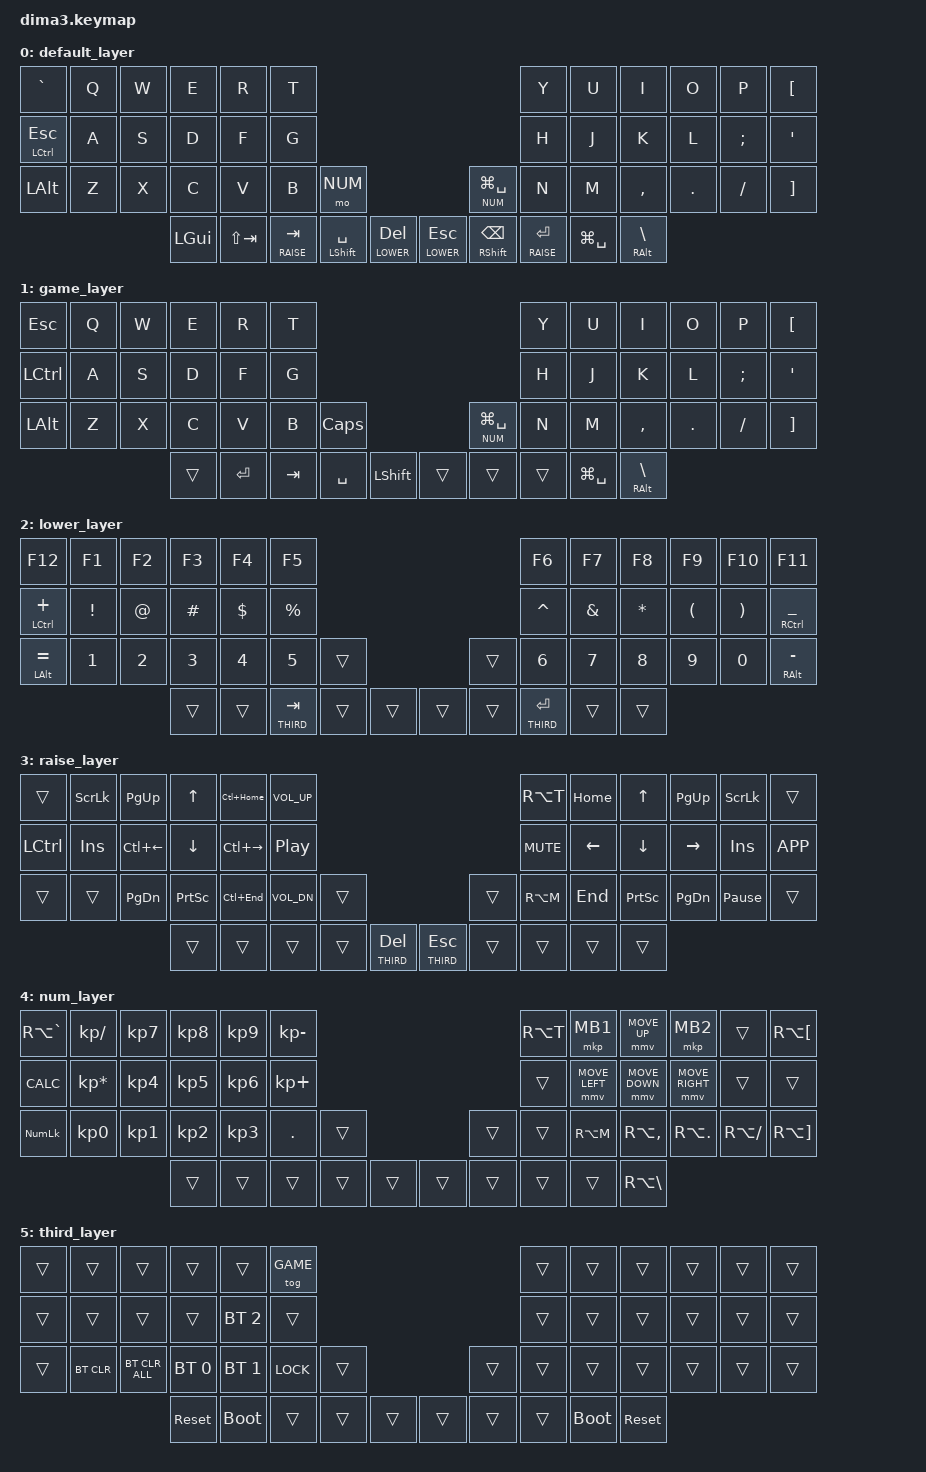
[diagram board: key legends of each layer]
/*
 * Copyright (c) 2020 The ZMK Contributors
 *
 *
 * SPDX-License-Identifier: MIT
 */
#include <behaviors.dtsi>
#include <dt-bindings/zmk/bt.h>
#include <dt-bindings/zmk/keys.h>
#include <dt-bindings/zmk/pointing.h>

#define DEFAULT 0
#define GAME    1
#define LOWER   2
#define RAISE   3
#define NUM     4
#define THIRD   5

/ {
    keymap {
        compatible = "zmk,keymap";

        default_layer {
          bindings = <
&kp GRAVE     &kp Q &kp W &kp E    &kp R       &kp T                                                                           &kp Y            &kp U     &kp I     &kp O    &kp P     &kp LBKT
&mt LCTRL ESC &kp A &kp S &kp D    &kp F       &kp G                                                                           &kp H            &kp J     &kp K     &kp L    &kp SEMI  &kp SQT
&kp LALT      &kp Z &kp X &kp C    &kp V       &kp B         &mo NUM                                        &lt NUM LG(SPACE)  &kp N            &kp M     &kp COMMA &kp DOT  &kp FSLH  &kp RBKT
                          &kp LGUI &kp LS(TAB) &lt RAISE TAB &mt LSHFT SPACE &lt LOWER DEL    &lt LOWER ESC &mt RSHFT BSPC     &lt RAISE ENTER  &kp LG(SPACE) &mt RALT BSLH
            >;
        };
  game_layer {
          bindings = <
&kp ESC       &kp Q &kp W &kp E    &kp R       &kp T                                                                          &kp Y            &kp U     &kp I     &kp O    &kp P     &kp LBKT
&kp LCTRL     &kp A &kp S &kp D    &kp F       &kp G                                                                          &kp H            &kp J     &kp K     &kp L    &kp SEMI  &kp SQT
&kp LALT      &kp Z &kp X &kp C    &kp V       &kp B   &kp CAPS                                            &lt NUM LG(SPACE)  &kp N            &kp M     &kp COMMA &kp DOT  &kp FSLH  &kp RBKT
                          &trans &kp ENTER &kp TAB &kp SPACE &kp LSHIFT                     &trans  &trans      &trans  &kp LG(SPACE) &mt RALT BSLH
          >;
        };
        lower_layer {
          bindings = <
&kp F12         &kp F1   &kp F2 &kp F3    &kp F4    &kp F5                                      &kp F6          &kp F7    &kp F8    &kp F9    &kp F10  &kp F11
&mt LCTRL PLUS  &kp EXCL &kp AT &kp HASH  &kp DLLR  &kp PRCNT                                   &kp CARET       &kp AMPS  &kp STAR  &kp LPAR  &kp RPAR &mt RCTRL UNDER
&mt LALT EQUAL  &kp N1   &kp N2 &kp N3    &kp N4    &kp N5         &trans                &trans &kp N6          &kp N7    &kp N8    &kp N9    &kp N0   &mt RALT MINUS
                                &trans    &trans    &lt THIRD TAB  &trans &trans  &trans &trans &lt THIRD ENTER &trans    &trans
          >;
        };
        raise_layer {
          bindings = <
&trans    &kp SLCK  &kp PG_UP     &kp UP    &kp LC(HOME)  &kp C_VOL_UP                                                 &kp RA(T)  &kp HOME  &kp UP    &kp PG_UP &kp SLCK        &trans
&kp LCTRL &kp INS   &kp LC(LEFT)  &kp DOWN  &kp LC(RIGHT) &kp C_PP                                                     &kp C_MUTE &kp LEFT  &kp DOWN  &kp RIGHT &kp INS         &kp K_APP
&trans    &trans    &kp PG_DN     &kp PSCRN &kp LC(END)   &kp C_VOL_DN &trans                                  &trans  &kp RA(M)  &kp END   &kp PSCRN &kp PG_DN &kp PAUSE_BREAK &trans
                                  &trans    &trans        &trans       &trans &lt THIRD DEL     &lt THIRD ESC  &trans  &trans     &trans    &trans
          >;
        };


        num_layer {
 bindings = <
&kp RA(GRAVE)  &kp KP_SLASH      &kp KP_N7   &kp KP_N8  &kp KP_N9  &kp KP_MINUS                                  &kp RA(T)  &mkp MB1        &mmv MOVE_UP    &mkp MB2         &trans         &kp RA(LBKT)
&kp K_CALC     &kp KP_ASTERISK   &kp KP_N4   &kp KP_N5  &kp KP_N6  &kp KP_PLUS                                   &trans     &mmv MOVE_LEFT  &mmv MOVE_DOWN  &mmv MOVE_RIGHT  &trans         &trans
&kp KP_NUM     &kp KP_N0         &kp KP_N1   &kp KP_N2  &kp KP_N3  &kp DOT      &trans                  &trans   &trans     &kp RA(M)       &kp RA(COMMA)   &kp RA(DOT)      &kp RA(FSLH)   &kp RA(RBKT)
                                        &trans   &trans    &trans       &trans  &trans  &trans   &trans &trans   &trans     &kp RA(BSLH)
  >;
        };

        third_layer {
          bindings = <
&trans  &trans      &trans          &trans        &trans        &tog GAME                                      &trans &trans       &trans  &trans &trans &trans
&trans  &trans      &trans          &trans        &bt BT_SEL 2  &trans                                         &trans &trans       &trans  &trans &trans &trans
&trans  &bt BT_CLR  &bt BT_CLR_ALL  &bt BT_SEL 0  &bt BT_SEL 1  &kp K_LOCK  &trans                     &trans  &trans &trans       &trans  &trans &trans &trans
                                    &sys_reset    &bootloader   &trans      &trans   &trans    &trans  &trans  &trans &bootloader  &sys_reset
          >;
        };

    };
};
